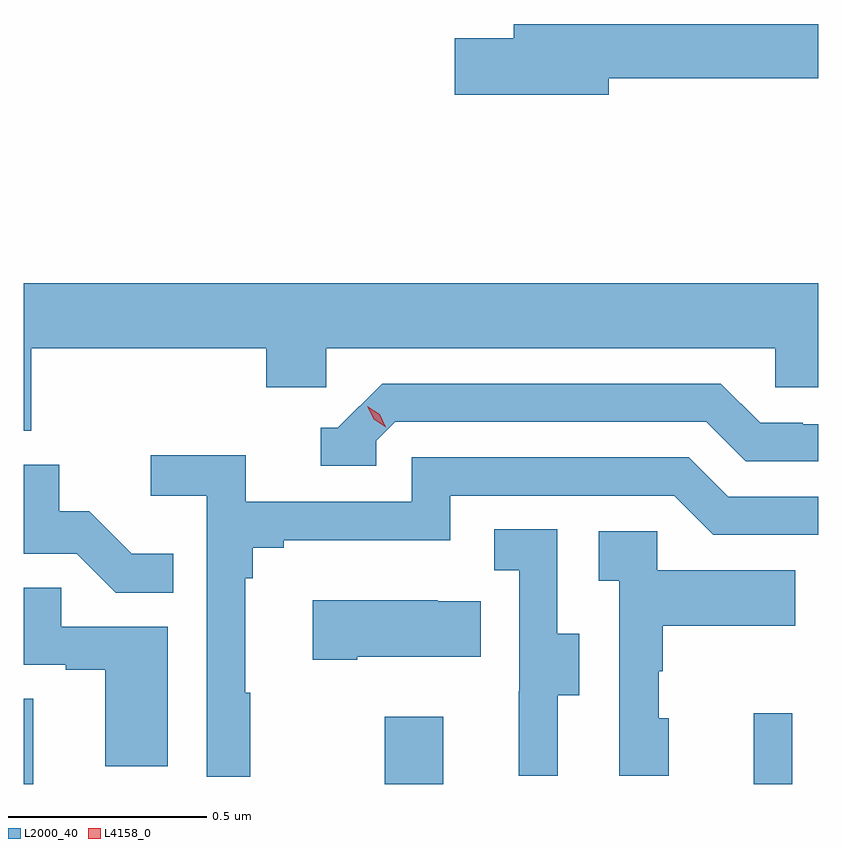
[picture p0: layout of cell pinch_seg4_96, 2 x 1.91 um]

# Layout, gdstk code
import gdstk
lib = gdstk.Library(unit=1e-6, precision=1e-09)
def R(c, l, rs):  # rectangles x0, y0, x1, y1
    for r in rs: c.add(gdstk.rectangle(r[:2], r[2:], *l))
def P(c, l, *ps):  # polygons
    for p in ps: c.add(gdstk.Polygon(p, *l))
L2000_40 = (2000, 40)
L4158_0 = (4158, 0)

pinch_seg4_96 = lib.new_cell('pinch_seg4_96')
R(pinch_seg4_96, L2000_40, [(1071.343,819.699,1071.367,819.914), (1072.252,819.699,1072.399,819.868), (1073.18,819.699,1073.277,819.877)])
P(pinch_seg4_96, L2000_40, [(1072.816,821.476),(1073.343,821.476),(1073.343,821.612),(1072.577,821.612),(1072.577,821.576),(1072.428,821.576),(1072.428,821.434),(1072.816,821.434)],
  [(1071.362,820.796),(1071.953,820.796),(1071.953,820.698),(1072.104,820.698),(1072.104,820.796),(1073.235,820.796),(1073.235,820.698),(1073.343,820.698),(1073.343,820.96),(1071.343,820.96),(1071.343,820.588),(1071.362,820.588)],
  [(1072.23,820.563),(1072.278,820.611),(1073.061,820.611),(1073.16,820.512),(1073.343,820.512),(1073.343,820.605),(1073.304,820.605),(1073.304,820.608),(1073.197,820.608),(1073.098,820.707),(1072.245,820.707),(1072.134,820.596),(1072.091,820.596),(1072.091,820.5),(1072.23,820.5)],
  [(1071.913,819.929),(1071.901,819.929),(1071.901,820.217),(1071.92,820.217),(1071.92,820.294),(1071.997,820.294),(1071.997,820.313),(1072.416,820.313),(1072.416,820.425),(1072.98,820.425),(1073.079,820.326),(1073.343,820.326),(1073.343,820.422),(1073.116,820.422),(1073.017,820.521),(1072.32,820.521),(1072.32,820.41),(1071.902,820.41),(1071.902,820.526),(1071.663,820.526),(1071.663,820.424),(1071.804,820.424),(1071.804,819.717),(1071.913,819.717)],
  [(1071.719,820.279),(1071.615,820.279),(1071.508,820.386),(1071.432,820.386),(1071.432,820.503),(1071.343,820.503),(1071.343,820.278),(1071.477,820.278),(1071.575,820.18),(1071.719,820.18)],
  [(1072.687,819.922),(1072.741,819.922),(1072.741,820.077),(1072.686,820.077),(1072.686,820.34),(1072.527,820.34),(1072.527,820.237),(1072.59,820.237),(1072.59,819.933),(1072.589,819.933),(1072.589,819.72),(1072.687,819.72)],
  [(1072.966,819.864),(1072.941,819.864),(1072.941,819.983),(1072.951,819.983),(1072.951,820.097),(1073.285,820.097),(1073.285,820.237),(1072.938,820.237),(1072.938,820.335),(1072.791,820.335),(1072.791,820.211),(1072.842,820.211),(1072.842,819.72),(1072.966,819.72)],
  [(1071.706,820.095),(1071.437,820.095),(1071.437,820.193),(1071.343,820.193),(1071.343,819.999),(1071.449,819.999),(1071.449,819.987),(1071.548,819.987),(1071.548,819.744),(1071.706,819.744)],
  [(1072.183,820.019),(1072.493,820.019),(1072.493,820.159),(1072.385,820.159),(1072.385,820.162),(1072.071,820.162),(1072.071,820.012),(1072.183,820.012)])
P(pinch_seg4_96, L4158_0, [(1072.254,820.597),(1072.224,820.617),(1072.208,820.65),(1072.208,820.65),(1072.208,820.65),(1072.239,820.63),(1072.254,820.597),(1072.254,820.597)])

lib.write_gds('pinch_seg4_96.gds')
